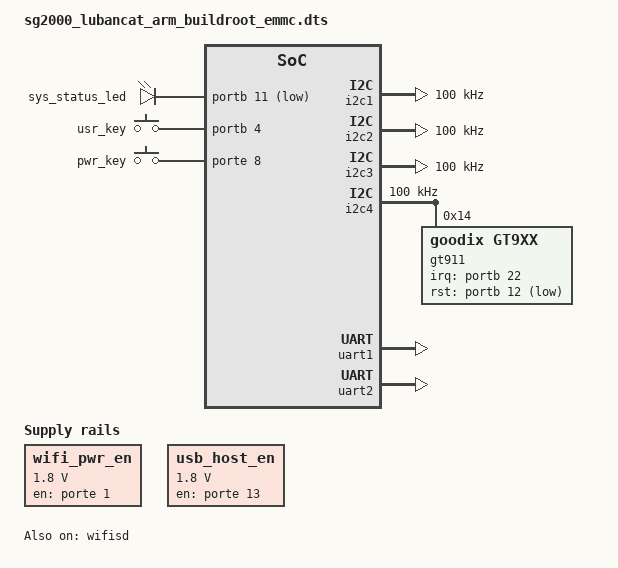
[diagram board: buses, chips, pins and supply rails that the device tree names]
/dts-v1/;
#include "soph_base_arm.dtsi"
#include "soph_asic_bga.dtsi"
#include "soph_asic_emmc.dtsi"
#include "soph_default_memmap.dtsi"

#include <dt-bindings/gpio/gpio.h>
#include <dt-bindings/interrupt-controller/irq.h>
#include <dt-bindings/input/linux-event-codes.h>

/ {

	sd:cv-sd@4310000 {
        min-frequency = <400000>; // 400Khz
        //max-frequency = <50000000>; // 50Mhz
        max-frequency = <25000000>; // 25Mhz
        //max-frequency = <10000000>; // 10Mhz
        //max-frequency = <5000000>; // 5Mhz
	};

	leds: leds {
		status = "okay";
		compatible = "gpio-leds";

		sys_status_led: sys-status-led {
			label = "sys_status_led";
			linux,default-trigger = "heartbeat";
			default-state = "on";
			gpios = <&portb 11 GPIO_ACTIVE_LOW>;
			};
		};

	wifi_pwr_en: wifi_pwr_en {
		compatible = "regulator-fixed";
		regulator-name = "wifi_pwr_en";
		regulator-min-microvolt = <1800000>;
		regulator-max-microvolt = <1800000>;
		gpio = <&porte 1 GPIO_ACTIVE_HIGH>;
		regulator-always-on;
		enable-active-high;
	};

	usb_host_en: usb_host_en {
		compatible = "regulator-fixed";
		regulator-name = "usb_host_en";
		regulator-min-microvolt = <1800000>;
		regulator-max-microvolt = <1800000>;
		gpio = <&porte 13 GPIO_ACTIVE_HIGH>;
		regulator-always-on;
		enable-active-high;
	};

	sgpio_keys: sgpio-keys {
		status = "okay";
		compatible = "gpio-keys";

			Key0{
				label = "usr_key";
				linux,code=<KEY_0>;
				gpios = <&portb 4 IRQ_TYPE_LEVEL_LOW>;
			};

			Key1{
				label = "pwr_key";
				linux,code=<KEY_POWER>;
				gpios = <&porte 8 IRQ_TYPE_LEVEL_LOW>;
			};
		};
};

&wifisd {
	status = "okay";
};

&wifi_pin {
	poweron-gpio = <&porta 4 GPIO_ACTIVE_HIGH>;
	wakeup-gpio = <&porta 0 GPIO_ACTIVE_HIGH>;
};

&mipi_rx {
	snsr-reset = <&porta 18 GPIO_ACTIVE_LOW>, <&porta 20 GPIO_ACTIVE_LOW>;
};

&i2c1 {
	clock-frequency = <100000>;
	status = "okay";
};

&i2c2 {
	clock-frequency = <100000>;
	status = "okay";
};

&i2c3 {
	clock-frequency = <100000>;
	status = "okay";
};

&i2c4 {
	clock-frequency = <100000>;
	status = "okay";
	#address-cells = <1>;
	#size-cells = <0>;

	gt911: gt911@14 {
			compatible = "goodix,gt9xx";
			reg = <0x14>;
			status = "okay";
			goodix,irq-gpio = <&portb 22 GPIO_ACTIVE_HIGH>;
			goodix,rst-gpio = <&portb 12 GPIO_ACTIVE_LOW>;
		};
};

&mipi_tx {
	reset-gpio = <&portb 15 GPIO_ACTIVE_LOW>;
	pwm-gpio = <&portb 19 GPIO_ACTIVE_HIGH>;
	power-ct-gpio = <&porte 12 GPIO_ACTIVE_HIGH>;
};

&uart1 {
	status = "okay";
};

&uart2 {
	status = "okay";
};


